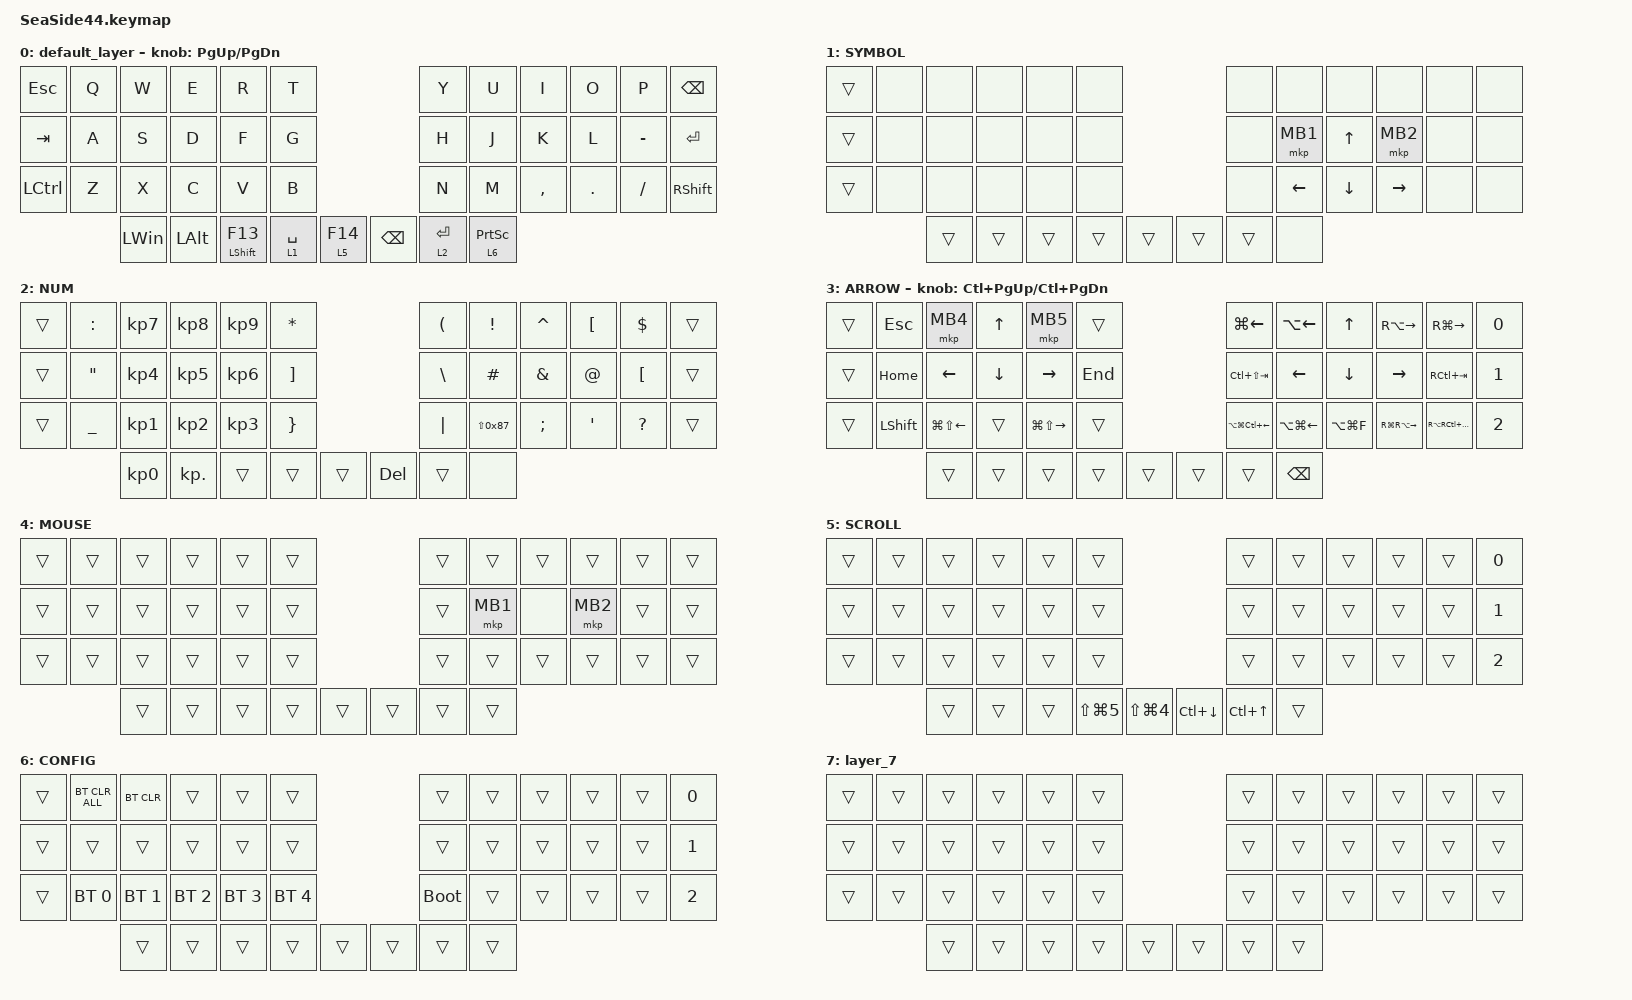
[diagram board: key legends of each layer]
#include <input/processors.dtsi>
#include <behaviors.dtsi>
#include <dt-bindings/zmk/bt.h>
#include <dt-bindings/zmk/keys.h>
#include <dt-bindings/zmk/pointing.h>

#define MOUSE 4
#define SCROLL 5
#define NUM 6

// OS設定を日本語キーボードのまま使用するための変換定義

#define JP_DQUOTE       AT                // "
#define JP_AMPERSAND    CARET             // &
#define JP_QUOTE        AMPERSAND         // '
#define JP_EQUAL        UNDER             // =
#define JP_CARET        EQUAL             // ^
#define JP_YEN          0x89              // ¥
#define JP_PLUS         COLON             // +
#define JP_TILDE        PLUS              // ~
#define JP_PIPE         LS(0x89)          // |
#define JP_AT           LEFT_BRACKET      // @
#define JP_COLON        SINGLE_QUOTE      // :
#define JP_ASTERISK     DOUBLE_QUOTES     // *
#define JP_BACKQUOTE    LEFT_BRACE        // `
#define JP_UNDERSCORE   LS(0x87)          // _
#define JP_LBRACKET     RIGHT_BRACKET     // [
#define JP_RBRACKET     BACKSLASH         // ]
#define JP_LPAREN       ASTERISK          // (
#define JP_RPAREN       LEFT_PARENTHESIS  // )
#define JP_LBRACE       RIGHT_BRACE       // {
#define JP_RBRACE       PIPE              // }
#define JP_KANA         LANGUAGE_1        // かな
#define JP_EISU         LANGUAGE_2        // 英数
#define JP_HANZEN       GRAVE             // 半角/全角

&mt {
    flavor = "balanced";
    quick-tap-ms = <300>;
};

&lt {
    flavor = "balanced";
    quick-tap-ms = <300>;
};

/*マウスキーを押したらタイムアウトを延長する*/

&mkp_input_listener { input-processors = <&zip_temp_layer 4 250>; };

/*
&sl {
    release-after-ms = <180>;
};
*/

/ {
    combos { compatible = "zmk,combos"; };

    macros {
        /*       macros_left_click: macros_left_click {
            compatible = "zmk,behavior-macro";
            #binding-cells = <0>;
            bindings =
                <&macro_press>,
                <&mkp LCLK>,
                <&macro_pause_for_release>,
                <&macro_release>,
                <&mkp LCLK>,
                <&macro_tap>,
                <&sl 0>;

            label = "MACRO_LEFT_CLICK";
        };
*/

        to_layer_0: to_layer_0 {
            compatible = "zmk,behavior-macro-one-param";
            #binding-cells = <1>;
            bindings = <&to 0 &macro_param_1to1 &kp MACRO_PLACEHOLDER>;
            label = "TO_LAYER_0";
        };
    };

    behaviors {
        lt_to_layer_0: lt_to_layer_0 {
            compatible = "zmk,behavior-hold-tap";
            label = "LAYER_TAP_TO_0";
            bindings = <&mo>, <&to_layer_0>;

            #binding-cells = <2>;
            tapping-term-ms = <200>;
        };
    };

    keymap {
        compatible = "zmk,keymap";

        default_layer {
            bindings = <
&kp ESCAPE  &kp Q  &kp W         &kp E         &kp R               &kp T                                                &kp Y        &kp U  &kp I              &kp O       &kp P      &kp BACKSPACE
&kp TAB     &kp A  &kp S         &kp D         &kp F               &kp G                                                &kp H        &kp J  &kp K              &kp L       &kp MINUS  &kp ENTER
&kp LCTRL   &kp Z  &kp X         &kp C         &kp V               &kp B                                                &kp N        &kp M  &kp COMMA          &kp PERIOD  &kp SLASH  &kp RIGHT_SHIFT
                   &kp LEFT_WIN  &kp LEFT_ALT  &mt LEFT_SHIFT F13  &lt 1 SPACE  &lt 5 F14    &kp BACKSPACE  &lt 2 ENTER         &lt 6 PRINTSCREEN
            >;

            sensor-bindings = <&inc_dec_kp PG_UP PAGE_DOWN>;
        };

        SYMBOL {
            bindings = <
&trans  &none  &none   &none   &none   &none                     &none   &none     &none     &none      &none  &none
&trans  &none  &none   &none   &none   &none                     &none   &mkp MB1  &kp UP    &mkp MB2   &none  &none
&trans  &none  &none   &none   &none   &none                     &none   &kp LEFT  &kp DOWN  &kp RIGHT  &none  &none
               &trans  &trans  &trans  &trans  &trans    &trans  &trans            &none
            >;
        };

        NUM {
            bindings = <
&trans  &kp JP_PLUS      &kp KP_N7  &kp KP_N8        &kp KP_N9        &kp JP_LPAREN                       &kp JP_RPAREN    &kp EXCL           &kp JP_AMPERSAND  &kp JP_AT      &kp DOLLAR    &trans
&trans  &kp JP_ASTERISK  &kp KP_N4  &kp KP_NUMBER_5  &kp KP_NUMBER_6  &kp JP_LBRACKET                     &kp JP_RBRACKET  &kp HASH           &kp JP_QUOTE      &kp JP_DQUOTE  &kp JP_AT     &trans
&trans  &kp JP_EQUAL     &kp KP_N1  &kp KP_N2        &kp KP_NUMBER_3  &kp JP_LBRACE                       &kp JP_RBRACE    &kp JP_UNDERSCORE  &kp SEMICOLON     &kp JP_COLON   &kp QUESTION  &trans
                         &kp KP_N0  &kp KP_DOT       &trans           &trans           &trans    &kp DEL  &trans                              &none
            >;
        };

        ARROW {
            bindings = <
&trans  &kp ESCAPE      &mkp MB4                &kp UP_ARROW    &mkp MB5                 &trans                     &kp LG(LEFT_ARROW)          &kp LA(LEFT_ARROW)      &kp UP_ARROW    &kp RA(RIGHT_ARROW)      &kp RG(RIGHT_ARROW)          &kp N0
&trans  &kp HOME        &kp LEFT_ARROW          &kp DOWN_ARROW  &kp RIGHT_ARROW          &kp END                    &kp LC(LS(TAB))             &kp LEFT_ARROW          &kp DOWN_ARROW  &kp RIGHT_ARROW          &kp RC(TAB)                  &kp N1
&trans  &kp LEFT_SHIFT  &kp LG(LS(LEFT_ARROW))  &trans          &kp LG(LS(RIGHT_ARROW))  &trans                     &kp LA(LG(LC(LEFT_ARROW)))  &kp LA(LG(LEFT_ARROW))  &kp LA(LG(F))   &kp RG(RA(RIGHT_ARROW))  &kp RA(RC(RG(RIGHT_ARROW)))  &kp N2
                        &trans                  &trans          &trans                   &trans   &trans    &trans  &trans                                              &kp BACKSPACE
            >;

            sensor-bindings = <&inc_dec_kp LC(PAGE_UP) LC(PAGE_DOWN)>;
        };

        MOUSE {
            bindings = <
&trans  &trans  &trans  &trans  &trans  &trans                    &trans  &trans    &trans  &trans    &trans  &trans
&trans  &trans  &trans  &trans  &trans  &trans                    &trans  &mkp MB1  &none   &mkp MB2  &trans  &trans
&trans  &trans  &trans  &trans  &trans  &trans                    &trans  &trans    &trans  &trans    &trans  &trans
                &trans  &trans  &trans  &trans  &trans    &trans  &trans            &trans
            >;
        };

        SCROLL {
            bindings = <
&trans  &trans  &trans  &trans  &trans  &trans                                          &trans            &trans  &trans  &trans  &trans  &kp N0
&trans  &trans  &trans  &trans  &trans  &trans                                          &trans            &trans  &trans  &trans  &trans  &kp N1
&trans  &trans  &trans  &trans  &trans  &trans                                          &trans            &trans  &trans  &trans  &trans  &kp N2
                &trans  &trans  &trans  &kp LS(LG(N5))  &kp LS(LG(N4))    &kp LC(DOWN)  &kp LC(UP_ARROW)          &trans
            >;
        };

        CONFIG {
            bindings = <
&trans  &bt BT_CLR_ALL  &bt BT_CLR    &trans        &trans        &trans                          &trans       &trans  &trans  &trans  &trans  &kp N0
&trans  &trans          &trans        &trans        &trans        &trans                          &trans       &trans  &trans  &trans  &trans  &kp N1
&trans  &bt BT_SEL 0    &bt BT_SEL 1  &bt BT_SEL 2  &bt BT_SEL 3  &bt BT_SEL 4                    &bootloader  &trans  &trans  &trans  &trans  &kp N2
                        &trans        &trans        &trans        &trans        &trans    &trans  &trans               &trans
            >;
        };

        layer_7 {
            bindings = <
&trans  &trans  &trans  &trans  &trans  &trans                    &trans  &trans  &trans  &trans  &trans  &trans
&trans  &trans  &trans  &trans  &trans  &trans                    &trans  &trans  &trans  &trans  &trans  &trans
&trans  &trans  &trans  &trans  &trans  &trans                    &trans  &trans  &trans  &trans  &trans  &trans
                &trans  &trans  &trans  &trans  &trans    &trans  &trans          &trans
            >;
        };
    };
};
